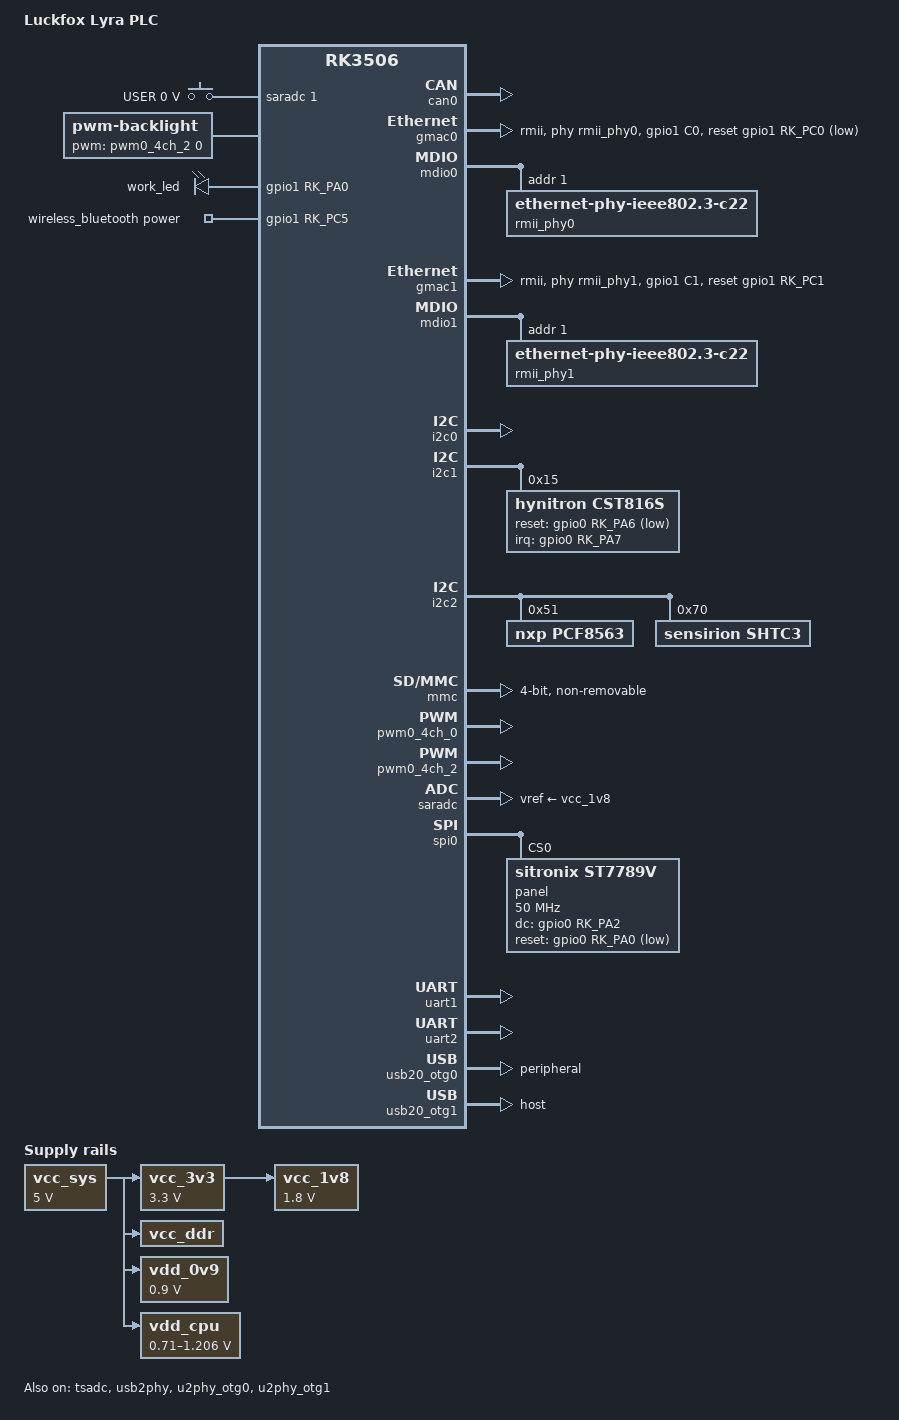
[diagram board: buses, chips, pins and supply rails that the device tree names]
// SPDX-License-Identifier: (GPL-2.0+ OR MIT)
/*
 * Luckfox Lyra PLC (RK3506B): DIN-rail controller with a 1.9" ST7789V SPI panel, CST816S touch, two RMII
 * Ethernet ports, RS232 (UART1), RS485/RS422 (UART2), CAN0, two relays, PCF8563 RTC and SHTC3 sensor.
 * Written from the device tree the stock Luckfox image runs (2026-07-28 build), on top of Rockchip's rk3506.dtsi.
 * The PoE and non-PoE variants are identical to software.
 */

/dts-v1/;
#include <dt-bindings/gpio/gpio.h>
#include <dt-bindings/input/input.h>
#include <dt-bindings/interrupt-controller/irq.h>
#include <dt-bindings/pinctrl/rockchip.h>
#include <dt-bindings/suspend/rockchip-rk3506.h>
#include "rk3506.dtsi"

/ {
	model = "Luckfox Lyra PLC";
	compatible = "luckfox,lyra-plc", "rockchip,rk3506";

	aliases {
		ethernet0 = &gmac0;
		ethernet1 = &gmac1;
		mmc0 = &mmc;
	};

	chosen {
		stdout-path = "serial0:1500000n8";
	};

	adc_keys: adc-keys {
		compatible = "adc-keys";
		io-channels = <&saradc 1>;
		io-channel-names = "buttons";
		keyup-threshold-microvolt = <1800000>;
		poll-interval = <100>;

		button-user {
			label = "USER";
			linux,code = <KEY_VENDOR>;
			press-threshold-microvolt = <0>;
		};
	};

	backlight: backlight {
		compatible = "pwm-backlight";
		pwms = <&pwm0_4ch_2 0 25000 1>;
		brightness-levels = <
			  0  20  20  21  21  22  22  23
			 23  24  24  25  25  26  26  27
			 27  28  28  29  29  30  30  31
			 31  32  32  33  33  34  34  35
			 35  36  36  37  37  38  38  39
			 40  41  42  43  44  45  46  47
			 48  49  50  51  52  53  54  55
			 56  57  58  59  60  61  62  63
			 64  65  66  67  68  69  70  71
			 72  73  74  75  76  77  78  79
			 80  81  82  83  84  85  86  87
			 88  89  90  91  92  93  94  95
			 96  97  98  99 100 101 102 103
			104 105 106 107 108 109 110 111
			112 113 114 115 116 117 118 119
			120 121 122 123 124 125 126 127
			128 129 130 131 132 133 134 135
			136 137 138 139 140 141 142 143
			144 145 146 147 148 149 150 151
			152 153 154 155 156 157 158 159
			160 161 162 163 164 165 166 167
			168 169 170 171 172 173 174 175
			176 177 178 179 180 181 182 183
			184 185 186 187 188 189 190 191
			192 193 194 195 196 197 198 199
			200 201 202 203 204 205 206 207
			208 209 210 211 212 213 214 215
			216 217 218 219 220 221 222 223
			224 225 226 227 228 229 230 231
			232 233 234 235 236 237 238 239
			240 241 242 243 244 245 246 247
			248 249 250 251 252 253 254 255
		>;
		default-brightness-level = <200>;
		status = "okay";
	};

	fiq_debugger: fiq-debugger {
		compatible = "rockchip,fiq-debugger";
		rockchip,serial-id = <0>;
		rockchip,wake-irq = <0>;
		rockchip,irq-mode-enable = <1>;
		rockchip,baudrate = <1500000>;
		interrupts = <GIC_SPI 115 IRQ_TYPE_LEVEL_HIGH>;
	};

	leds: leds {
		compatible = "gpio-leds";

		work_led: work-led {
			gpios = <&gpio1 RK_PA0 GPIO_ACTIVE_HIGH>;
			linux,default-trigger = "heartbeat";
		};
	};

	vcc_sys: vcc-sys {
		compatible = "regulator-fixed";
		regulator-name = "vcc_sys";
		regulator-always-on;
		regulator-boot-on;
		regulator-min-microvolt = <5000000>;
		regulator-max-microvolt = <5000000>;
	};

	vcc_3v3: vcc-3v3 {
		compatible = "regulator-fixed";
		regulator-name = "vcc_3v3";
		regulator-always-on;
		regulator-boot-on;
		regulator-min-microvolt = <3300000>;
		regulator-max-microvolt = <3300000>;
		vin-supply = <&vcc_sys>;
	};

	vcc_1v8: vcc-1v8 {
		compatible = "regulator-fixed";
		regulator-name = "vcc_1v8";
		regulator-always-on;
		regulator-boot-on;
		regulator-min-microvolt = <1800000>;
		regulator-max-microvolt = <1800000>;
		vin-supply = <&vcc_3v3>;
	};

	vcc_ddr: vcc-ddr {
		compatible = "regulator-fixed";
		regulator-name = "vcc_ddr";
		regulator-always-on;
		regulator-boot-on;
		vin-supply = <&vcc_sys>;
	};

	vdd_0v9: vdd-0v9 {
		compatible = "regulator-fixed";
		regulator-name = "vdd_0v9";
		regulator-always-on;
		regulator-boot-on;
		regulator-min-microvolt = <900000>;
		regulator-max-microvolt = <900000>;
		vin-supply = <&vcc_sys>;
	};

	/* CPU core supply is a PWM-controlled regulator on PWM0 channel 0 (RM_IO21). */
	vdd_cpu: vdd-cpu {
		compatible = "pwm-regulator";
		pwms = <&pwm0_4ch_0 0 5000 1>;
		regulator-name = "vdd_cpu";
		regulator-min-microvolt = <710000>;
		regulator-max-microvolt = <1206000>;
		regulator-init-microvolt = <1011000>;
		regulator-always-on;
		regulator-boot-on;
		vin-supply = <&vcc_sys>;
	};

	/* AIC8800DC Wi-Fi/BT combo on USB; only the BT power enable is a GPIO. */
	wireless_bluetooth: wireless-bluetooth {
		compatible = "bluetooth-platdata";
		BT,power_gpio = <&gpio1 RK_PC5 GPIO_ACTIVE_HIGH>;
		status = "okay";
	};
};

&cpu0 {
	cpu-supply = <&vdd_cpu>;
	status = "okay";
};

&cma {
	size = <0x2000000>;
};

/* CAN0 on RM_IO12/13, 120 ohm termination by switch on the terminal block. */
&can0 {
	assigned-clocks = <&cru CLK_CAN0>;
	assigned-clock-rates = <200000000>;
	pinctrl-names = "default";
	pinctrl-0 = <&rm_io12_can0_tx &rm_io13_can0_rx>;
	status = "okay";
};

/* Two RMII PHYs on a shared 25 MHz clock output; eth0 reset is active low, eth1 reset active high. */
&gmac0 {
	phy-mode = "rmii";
	clock_in_out = "output";
	assigned-clocks = <&cru CLK_MAC_OUT>;
	assigned-clock-rates = <25000000>;
	snps,reset-gpio = <&gpio1 RK_PC0 GPIO_ACTIVE_LOW>;
	snps,reset-active-low;
	pinctrl-names = "default";
	pinctrl-0 = <&eth_clk0_25m_out_pins &eth_rmii0_miim_pins &eth_rmii0_tx_bus2_pins
		     &eth_rmii0_rx_bus2_pins &eth_rmii0_clk_pins &rmii0_rstn>;
	phy-handle = <&rmii_phy0>;
	status = "okay";
};

&mdio0 {
	rmii_phy0: phy@1 {
		compatible = "ethernet-phy-ieee802.3-c22";
		reg = <0x1>;
		assigned-clocks = <&cru CLK_MAC_OUT>;
		assigned-clock-rates = <25000000>;
	};
};

&gmac1 {
	phy-mode = "rmii";
	clock_in_out = "output";
	assigned-clocks = <&cru CLK_MAC_OUT>;
	assigned-clock-rates = <25000000>;
	snps,reset-gpio = <&gpio1 RK_PC1 GPIO_ACTIVE_HIGH>;
	snps,reset-active-high;
	pinctrl-names = "default";
	pinctrl-0 = <&eth_clk1_25m_out_pins &eth_rmii1_miim_pins &eth_rmii1_tx_bus2_pins
		     &eth_rmii1_rx_bus2_pins &eth_rmii1_clk_pins &rmii1_rstn>;
	phy-handle = <&rmii_phy1>;
	status = "okay";
};

&mdio1 {
	rmii_phy1: phy@1 {
		compatible = "ethernet-phy-ieee802.3-c22";
		reg = <0x1>;
		assigned-clocks = <&cru CLK_MAC_OUT>;
		assigned-clock-rates = <25000000>;
	};
};

/* Relays on GPIO0_C1/C2, RS485 transmit enable on GPIO0_B7: plain GPIOs, driven from user space. */
&gpio0 {
	gpio-line-names =
		"lcd-reset", "", "lcd-dc", "", "", "", "touch-reset", "touch-irq",
		"", "", "", "", "", "", "", "rs485-txen",
		"", "relay0", "relay1", "", "", "", "", "",
		"", "", "", "", "", "", "", "";
};

/* External I2C header */
&i2c0 {
	pinctrl-names = "default";
	pinctrl-0 = <&rm_io30_i2c0_scl &rm_io31_i2c0_sda>;
	status = "okay";
};

&i2c1 {
	pinctrl-names = "default";
	pinctrl-0 = <&rm_io9_i2c1_scl &rm_io8_i2c1_sda>;
	status = "okay";

	cst816s: touchscreen@15 {
		compatible = "hynitron,cst816s";
		reg = <0x15>;
		interrupt-parent = <&gpio0>;
		interrupts = <RK_PA7 IRQ_TYPE_EDGE_FALLING>;
		reset-gpios = <&gpio0 RK_PA6 GPIO_ACTIVE_LOW>;
	};
};

&i2c2 {
	pinctrl-names = "default";
	pinctrl-0 = <&rm_io28_i2c2_scl &rm_io29_i2c2_sda>;
	status = "okay";

	pcf8563: rtc@51 {
		compatible = "nxp,pcf8563";
		reg = <0x51>;
		#clock-cells = <0>;
	};

	shtc3: humidity-sensor@70 {
		compatible = "sensirion,shtc3";
		reg = <0x70>;
	};
};

/* 8 GB eMMC, 4-bit DDR52 as the stock image runs it */
&mmc {
	max-frequency = <52000000>;
	bus-width = <4>;
	mmc-ddr-1_8v;
	supports-emmc;
	cap-mmc-highspeed;
	disable-wp;
	non-removable;
	pinctrl-names = "default";
	pinctrl-0 = <&sdmmc_clk_pins &sdmmc_cmd_pins &sdmmc_bus4_pins>;
	status = "okay";
};

&pwm0_4ch_0 {
	pinctrl-names = "active";
	pinctrl-0 = <&rm_io21_pwm0_ch0>;
	status = "okay";
};

&pwm0_4ch_2 {
	pinctrl-names = "active";
	pinctrl-0 = <&rm_io5_pwm0_ch2>;
	status = "okay";
};

&saradc {
	vref-supply = <&vcc_1v8>;
	status = "okay";
};

/* 1.9" 170x320 ST7789V panel through the fbtft driver: /dev/fb0, RGB565 */
&spi0 {
	pinctrl-names = "default";
	pinctrl-0 = <&rm_io1_spi0_clk &rm_io4_spi0_mosi &rm_io3_spi0_csn0>;
	status = "okay";

	panel: fbtft@0 {
		compatible = "sitronix,st7789v";
		reg = <0>;
		spi-max-frequency = <50000000>;
		fps = <60>;
		buswidth = <8>;
		dc-gpios = <&gpio0 RK_PA2 GPIO_ACTIVE_HIGH>;
		reset-gpios = <&gpio0 RK_PA0 GPIO_ACTIVE_LOW>;
	};
};

&tsadc {
	pinctrl-names = "gpio", "otpout";
	pinctrl-0 = <&wdt_tsadc_gpio>;
	pinctrl-1 = <&rm_io21_wdt_tsadc_shut>;
	status = "okay";
};

/* UART1 = RS232, UART2 = RS485/RS422 (TX enable on GPIO0_B7) */
&uart1 {
	pinctrl-names = "default";
	pinctrl-0 = <&rm_io10_uart1_tx &rm_io11_uart1_rx>;
	status = "okay";
};

&uart2 {
	pinctrl-names = "default";
	pinctrl-0 = <&rm_io14_uart2_tx &rm_io16_uart2_rx>;
	status = "okay";
};

&usb20_otg0 {
	dr_mode = "peripheral";
	status = "okay";
};

&usb20_otg1 {
	dr_mode = "host";
	status = "okay";
};

&usb2phy {
	status = "okay";
};

&u2phy_otg0 {
	status = "okay";
};

&u2phy_otg1 {
	status = "okay";
};

&pinctrl {
	gmac {
		rmii0_rstn: rmii0-rstn {
			rockchip,pins = <1 RK_PC0 RK_FUNC_GPIO &pcfg_pull_none>;
		};

		rmii1_rstn: rmii1-rstn {
			rockchip,pins = <1 RK_PC1 RK_FUNC_GPIO &pcfg_pull_none>;
		};
	};

	tsadc {
		wdt_tsadc_gpio: wdt-tsadc-gpio {
			rockchip,pins = <0 RK_PC5 RK_FUNC_GPIO &pcfg_pull_none>;
		};
	};
};
